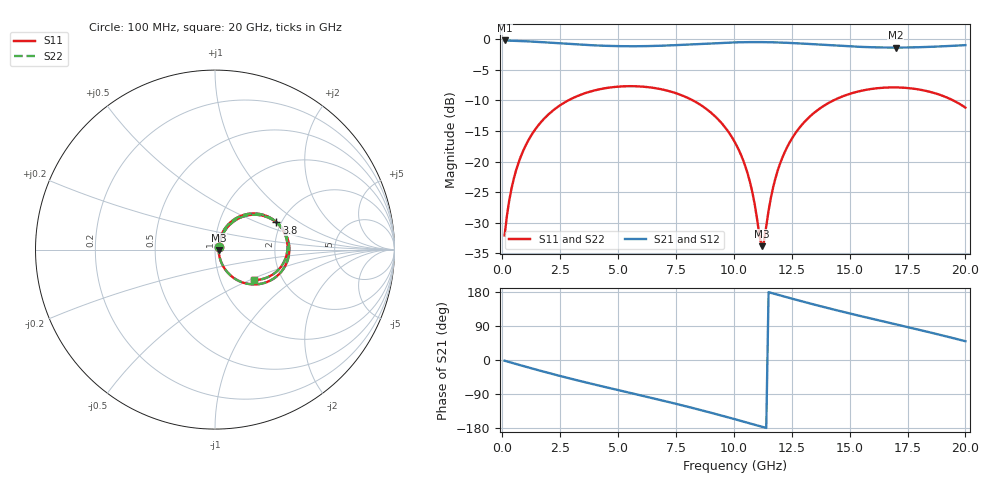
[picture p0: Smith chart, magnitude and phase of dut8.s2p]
! Touchstone file exported from HFSS 2026.1.0
!  File:  C:/ffzhzh/LocalFiles/Ansys_Project_Files/temp_val_TSV_RDL_8_1782975985_15332.aedt
!  Generated:  03:19:58 PM Jul  2, 2026
!  Design:  TSV_RDL
!  Project:  temp_val_TSV_RDL_8_1782975985_15332
! Variables:
!  h_bsmrdl = 2.49um
!  h_ox = 20um
!  h_rdl = 5um
!  h_sub = 66.53um
!  h_tmrdl = 5.51um
!  h_tsv = 66.53um
!  h_via = 3um
!  l_bsmrdl = 545.27um
!  l_sub = 5490.84um
!  l_tmrdl = 827.21um
!  m_sub = 200um
!  pitch = 43.07um
!  r_tsv = 9.81um
!  s_tmrdl = 10um
!  w_bsmrdl = 25.67um
!  w_sub = 500um
!  w_tmrdl = 23.06um
!  x_tsv_center1 = 838.74um
!  x_tsv_center2 = 1409.68um
!  x_tsv_center3 = 2259.95um
!  x_tsv_center4 = 2830.89um
!  x_tsv_center5 = 3681.16um
!  x_tsv_center6 = 4252.1um
# GHz S MA R 50.000000
! Terminal data exported
! Port[1] = TM_RDL1_1_T1
! Port[2] = TM_RDL5_1_T1
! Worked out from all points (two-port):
!   200 points, 100 MHz to 20 GHz, reference 50 ohm
!   highest |S21| = -0.17 dB at 100 MHz (marker M1); lowest = -1.3 dB at 17 GHz (marker M2)
!   |S21| within 3 dB of the highest: start of sweep to end of sweep
!   lowest |S11| = -33.8 dB at 11.2 GHz (marker M3), VSWR 1.04, Z = 52.1 - j0.247 ohm
!   |S11| at or under -10 dB: start of sweep to 2.841 GHz; 8.236 GHz to 14.29 GHz (6.057 GHz wide, 53.8 % of centre); 19.48 GHz to end of sweep
!   |S22| runs from -33.7 to -7.7 dB; largest |S21 - S12| = 1.7e-14
!   S11 on the Smith chart (normalised r, x): 100 MHz: 1.04, +0.03; 3.8 GHz: 1.89, +0.66; 20 GHz: 1.44, -0.53
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0.1  0.02482 35.9  0.9803 -1.9  0.9803 -1.9  0.02482 35.9
! Gamma 0 0 0 0
! Port Impedance 50 0 50 0
0.5  0.07289 62.5  0.9744 -8.9  0.9744 -8.9  0.07289 62.5
1.1  0.1462 60.6  0.9637 -19.2  0.9637 -19.2  0.1462 60.6
2.1  0.2536 47.9  0.9391 -35.8  0.9391 -35.8  0.2536 47.9
3.5  0.3589 28.0  0.9032 -57.5  0.9032 -57.5  0.3589 28.0
3.8  0.3741 23.8  0.897 -62.0  0.897 -62.0  0.3742 23.8
5.3  0.4136 3.3  0.8794 -83.7  0.8794 -83.7  0.4136 3.3
6.8  0.393 -17.1  0.8868 -105.2  0.8868 -105.2  0.393 -17.1
8.8  0.2708 -45.2  0.9238 -135.7  0.9238 -135.7  0.2709 -45.2
10.1  0.1376 -61.8  0.9458 -157.2  0.9458 -157.2  0.1376 -61.7
10.7  0.0676 -62.8  0.9502 -167.4  0.9502 -167.4  0.06768 -62.6
11.2  0.0203 -6.7  0.9501 -175.9  0.9501 -175.9  0.02054 -6.6
11.3  0.02219 25.1  0.9497 -177.6  0.9497 -177.6  0.0224 24.8
11.7  0.06188 64.4  0.9465 175.5  0.9465 175.5  0.06195 64.2
12  0.09668 66.4  0.9427 170.5  0.9427 170.5  0.09673 66.3
12.6  0.1643 61.6  0.9321 160.4  0.9321 160.4  0.1644 61.6
13.4  0.2446 51.4  0.9138 147.4  0.9138 147.4  0.2446 51.3
15  0.358 29.3  0.8769 122.9  0.8769 122.9  0.358 29.3
16.7  0.4043 6.4  0.8575 98.3  0.8575 98.3  0.4043 6.4
17  0.4046 2.4  0.8572 94.1  0.8572 94.1  0.4047 2.4
18.6  0.3665 -19.0  0.8708 70.9  0.8708 70.9  0.3666 -18.9
20  0.2766 -37.9  0.8973 49.5  0.8973 49.5  0.2767 -37.8
